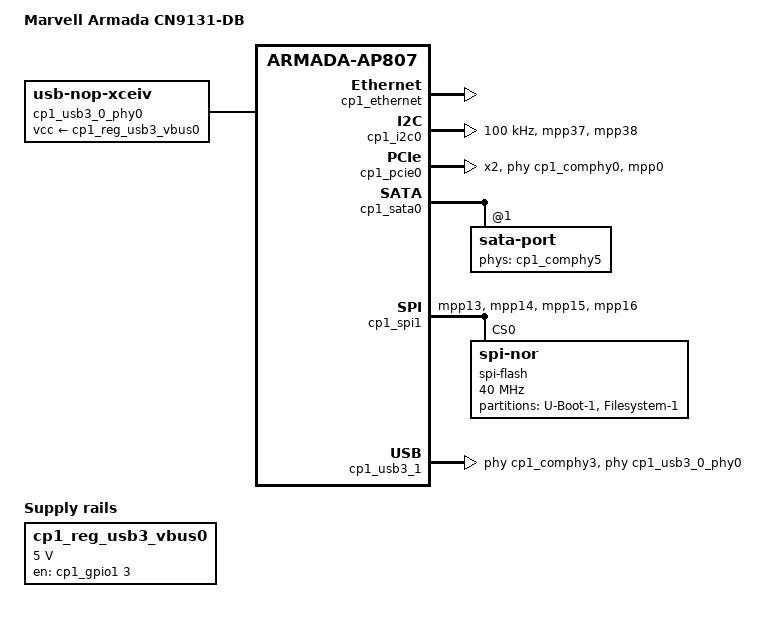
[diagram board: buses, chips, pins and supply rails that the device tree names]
// SPDX-License-Identifier: (GPL-2.0+ OR MIT)
/*
 * Copyright (C) 2019 Marvell International Ltd.
 *
 * Device tree for the CN9131-DB board.
 */

#include "cn9130-db.dts"

/ {
	model = "Marvell Armada CN9131-DB";
	compatible = "marvell,cn9131", "marvell,cn9130",
		     "marvell,armada-ap807-quad", "marvell,armada-ap807";

	aliases {
		gpio3 = &cp1_gpio1;
		gpio4 = &cp1_gpio2;
		ethernet3 = &cp1_eth0;
		ethernet4 = &cp1_eth1;
	};

	cp1_reg_usb3_vbus0: cp1_usb3_vbus@0 {
		compatible = "regulator-fixed";
		pinctrl-names = "default";
		pinctrl-0 = <&cp1_xhci0_vbus_pins>;
		regulator-name = "cp1-xhci0-vbus";
		regulator-min-microvolt = <5000000>;
		regulator-max-microvolt = <5000000>;
		enable-active-high;
		gpio = <&cp1_gpio1 3 GPIO_ACTIVE_HIGH>;
	};

	cp1_usb3_0_phy0: cp1_usb3_phy0 {
		compatible = "usb-nop-xceiv";
		vcc-supply = <&cp1_reg_usb3_vbus0>;
	};

	cp1_sfp_eth1: sfp-eth1 {
		compatible = "sff,sfp";
		i2c-bus = <&cp1_i2c0>;
		los-gpio = <&cp1_gpio1 11 GPIO_ACTIVE_HIGH>;
		mod-def0-gpio = <&cp1_gpio1 10 GPIO_ACTIVE_LOW>;
		tx-disable-gpio = <&cp1_gpio1 9 GPIO_ACTIVE_HIGH>;
		tx-fault-gpio = <&cp1_gpio1 8 GPIO_ACTIVE_HIGH>;
		pinctrl-names = "default";
		pinctrl-0 = <&cp1_sfp_pins>;
		/*
		 * SFP cages are unconnected on early PCBs because of an the I2C
		 * lanes not being connected. Prevent the port for being
		 * unusable by disabling the SFP node.
		 */
		status = "disabled";
	};
};

/*
 * Instantiate the first slave CP115
 */

#define CP11X_NAME		cp1
#define CP11X_BASE		f4000000
#define CP11X_PCIEx_MEM_BASE(iface) (0xe2000000 + (iface * 0x1000000))
#define CP11X_PCIEx_MEM_SIZE(iface) 0xf00000
#define CP11X_PCIE0_BASE	f4600000
#define CP11X_PCIE1_BASE	f4620000
#define CP11X_PCIE2_BASE	f4640000

#include "armada-cp115.dtsi"

#undef CP11X_NAME
#undef CP11X_BASE
#undef CP11X_PCIEx_MEM_BASE
#undef CP11X_PCIEx_MEM_SIZE
#undef CP11X_PCIE0_BASE
#undef CP11X_PCIE1_BASE
#undef CP11X_PCIE2_BASE

&cp1_crypto {
	status = "disabled";
};

&cp1_ethernet {
	status = "okay";
};

/* CON50 */
&cp1_eth0 {
	status = "disabled";
	phy-mode = "10gbase-kr";
	/* Generic PHY, providing serdes lanes */
	phys = <&cp1_comphy4 0>;
	managed = "in-band-status";
	sfp = <&cp1_sfp_eth1>;
};

&cp1_gpio1 {
	status = "okay";
};

&cp1_gpio2 {
	status = "okay";
};

&cp1_i2c0 {
	status = "okay";
	pinctrl-names = "default";
	pinctrl-0 = <&cp1_i2c0_pins>;
	clock-frequency = <100000>;
};

/* CON40 */
&cp1_pcie0 {
	pinctrl-names = "default";
	pinctrl-0 = <&cp1_pcie_reset_pins>;
	num-lanes = <2>;
	num-viewport = <8>;
	marvell,reset-gpio = <&cp1_gpio1 0 GPIO_ACTIVE_HIGH>;
	status = "okay";
	/* Generic PHY, providing serdes lanes */
	phys = <&cp1_comphy0 0
		&cp1_comphy1 0>;
};

&cp1_sata0 {
	status = "okay";

	/* CON32 */
	sata-port@1 {
		/* Generic PHY, providing serdes lanes */
		phys = <&cp1_comphy5 1>;
	};
};

/* U24 */
&cp1_spi1 {
	status = "okay";
	pinctrl-names = "default";
	pinctrl-0 = <&cp1_spi0_pins>;
	reg = <0x700680 0x50>;

	spi-flash@0 {
		#address-cells = <0x1>;
		#size-cells = <0x1>;
		compatible = "jedec,spi-nor";
		reg = <0x0>;
		/* On-board MUX does not allow higher frequencies */
		spi-max-frequency = <40000000>;

		partitions {
			compatible = "fixed-partitions";
			#address-cells = <1>;
			#size-cells = <1>;

			partition@0 {
				label = "U-Boot-1";
				reg = <0x0 0x200000>;
			};

			partition@400000 {
				label = "Filesystem-1";
				reg = <0x200000 0xe00000>;
			};
		};
	};

};

&cp1_syscon0 {
	cp1_pinctrl: pinctrl {
		compatible = "marvell,cp115-standalone-pinctrl";

		cp1_i2c0_pins: cp1-i2c-pins-0 {
			marvell,pins = "mpp37", "mpp38";
			marvell,function = "i2c0";
		};
		cp1_spi0_pins: cp1-spi-pins-0 {
			marvell,pins = "mpp13", "mpp14", "mpp15", "mpp16";
			marvell,function = "spi1";
		};
		cp1_xhci0_vbus_pins: cp1-xhci0-vbus-pins {
			marvell,pins = "mpp3";
			marvell,function = "gpio";
		};
		cp1_sfp_pins: sfp-pins {
			marvell,pins = "mpp8", "mpp9", "mpp10", "mpp11";
			marvell,function = "gpio";
		};
		cp1_pcie_reset_pins: cp1-pcie-reset-pins {
			marvell,pins = "mpp0";
			marvell,function = "gpio";
		};
	};
};

/* CON58 */
&cp1_usb3_1 {
	status = "okay";
	usb-phy = <&cp1_usb3_0_phy0>;
	/* Generic PHY, providing serdes lanes */
	phys = <&cp1_comphy3 1>;
	phy-names = "usb";
};
